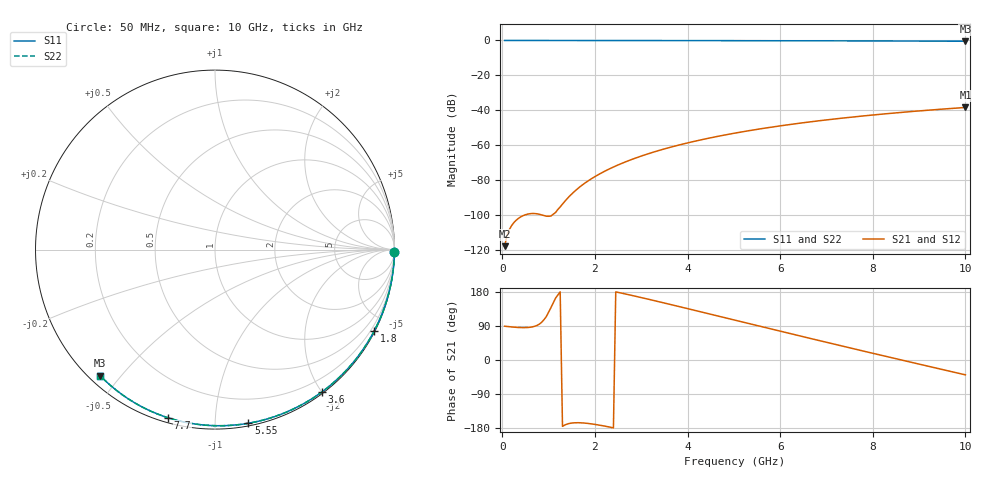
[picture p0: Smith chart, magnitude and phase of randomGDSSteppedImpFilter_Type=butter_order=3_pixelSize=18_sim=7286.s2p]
! freq	dB(S11)	phase(S11)	dB(S12)	phase(S12)
!  dB(S21)	phase(S21)	dB(S22)	phase(S22)
!S-par simulation data
#  GHz  S  DB  R 50
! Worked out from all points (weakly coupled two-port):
!   200 points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, 50 MHz to 10 GHz, reference 50 ohm
!   highest |S21| = -38.40 dB at 10 GHz (marker M1); lowest = -117.9 dB at 50 MHz (marker M2)
!   lowest |S11| = -0.4 dB at 10 GHz (marker M3), VSWR 38.95, Z = 1.53 - j22.1 ohm
!   |S11| at or under -10 dB: nowhere
!   |S22| runs from -0.4 to 0.0 dB; largest |S21 - S12| = 0
!   S11 on the Smith chart (normalised r, x): 50 MHz: open; 1.8 GHz: 0.04, -4.15; 3.6 GHz: 0.02, -2.01; 5.55 GHz: 0.02, -1.21; 7.7 GHz: 0.02, -0.76; 10 GHz: 0.03, -0.44
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0.05  -0.00 -0.8  -117.88 89.2  -117.88 89.2  -0.00 -0.8
0.9  -0.02 -13.7  -100.37 106.4  -100.37 106.4  -0.02 -13.7
1.75  -0.03 -26.4  -82.38 -166.2  -82.38 -166.2  -0.03 -26.4
1.8  -0.03 -27.1  -81.43 -166.7  -81.43 -166.7  -0.03 -27.1
1.85  -0.04 -27.8  -80.53 -167.4  -80.53 -167.4  -0.04 -27.8
1.9  -0.04 -28.6  -79.66 -168.1  -79.66 -168.1  -0.04 -28.6
2.05  -0.04 -30.8  -77.25 -170.9  -77.25 -170.9  -0.04 -30.8
2.25  -0.04 -33.7  -74.41 -175.3  -74.41 -175.3  -0.04 -33.7
2.45  -0.05 -36.6  -71.92 179.7  -71.92 179.7  -0.05 -36.6
2.65  -0.05 -39.5  -69.68 174.5  -69.68 174.5  -0.05 -39.5
3  -0.06 -44.5  -66.25 164.8  -66.25 164.8  -0.06 -44.5
3.4  -0.07 -50.2  -62.90 153.3  -62.90 153.3  -0.07 -50.2
3.6  -0.07 -53.0  -61.41 147.4  -61.41 147.4  -0.07 -53.0
4.3  -0.09 -62.6  -56.89 126.7  -56.89 126.7  -0.09 -62.6
5.05  -0.11 -72.6  -52.97 104.4  -52.97 104.4  -0.11 -72.6
5.55  -0.13 -79.1  -50.74 89.5  -50.74 89.5  -0.13 -79.1
6.1  -0.15 -86.1  -48.57 73.2  -48.57 73.2  -0.15 -86.1
6.7  -0.18 -93.6  -46.48 55.5  -46.48 55.5  -0.18 -93.6
7.7  -0.24 -105.7  -43.50 26.4  -43.50 26.4  -0.24 -105.7
8.35  -0.29 -113.3  -41.85 7.7  -41.85 7.7  -0.29 -113.3
9.15  -0.36 -122.6  -40.05 -15.1  -40.05 -15.1  -0.36 -122.6
10  -0.45 -132.3  -38.40 -39.2  -38.40 -39.2  -0.45 -132.3
